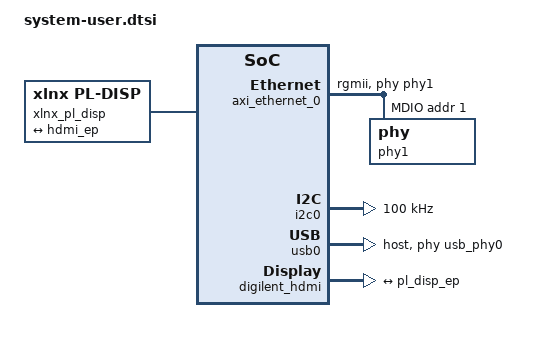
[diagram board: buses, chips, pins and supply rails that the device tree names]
/include/ "system-conf.dtsi"
/ {


	usb_phy0: usb_phy@0 {
		compatible = "ulpi-phy";
		#phy-cells = <0>;
		reg = <0xe0002000 0x1000>;
		view-port = <0x0170>;
		drv-vbus;
	};

};

&axi_ethernet_0 {
	local-mac-address = [00 0a 35 00 01 22];  
 	phy-handle = <&phy1>; 
 	xlnx,has-mdio = <0x1>;  
 	phy-mode = "rgmii";  
 	mdio {  
		phy1: phy@1 {  
			device_type = "ethernet-phy";  
			reg = <1>;  
		};
	};		
};

&i2c0 {
	clock-frequency = <100000>;

};

&usb0 {	
	dr_mode = "host";
	usb-phy = <&usb_phy0>;
};


&amba_pl {

	digilent_hdmi {
		compatible = "ax_7511,drm-encoder";

		clocks = <&axi_dynclk_0>;
		clock-names = "clk";

		digilent,edid-i2c = <&i2c0>;
		digilent,fmax = <150000>;
		
		port@0 {
			#address-cells = <1>;
			#size-cells = <0>;

			hdmi_ep: endpoint {
				remote-endpoint = <&pl_disp_ep>;
			};
		};
	};
	
	xlnx_pl_disp {
		compatible = "xlnx,pl-disp";
		dmas = <&axi_vdma_0 0>;
		dma-names = "dma0";

		xlnx,vformat = "RG24";
		xlnx,bridge = <&v_tc_0>;

		port@0 {
			reg = <0>;
			pl_disp_ep: endpoint {
				remote-endpoint = <&hdmi_ep>;
			};
		};
	};


	
};

&axi_dynclk_0 {
	compatible = "dglnt,axi-dynclk";
	#clock-cells = <0>;
	clocks = <&clkc 15>;
};
&v_tc_0 {
	compatible = "xlnx,bridge-v-tc-6.1";
	xlnx,pixels-per-clock = <1>;
};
